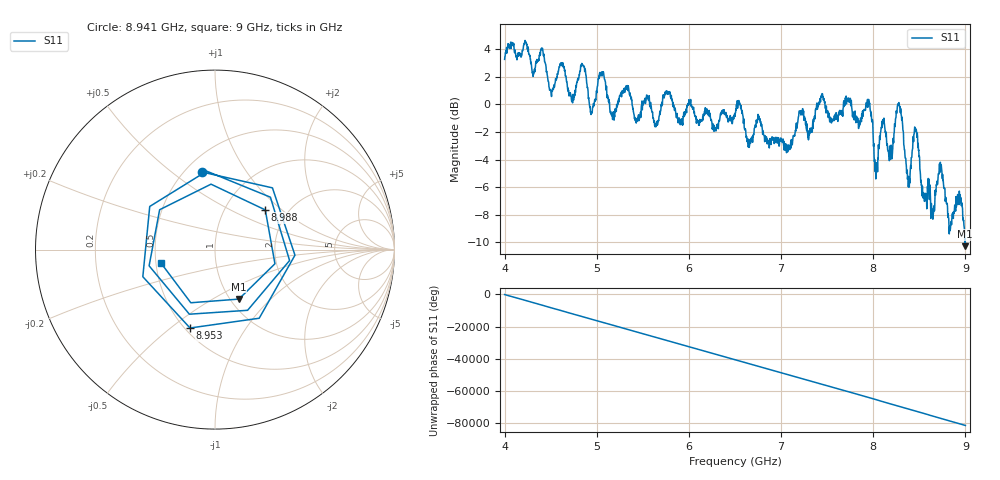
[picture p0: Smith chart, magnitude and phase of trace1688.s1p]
! Created with skrf 1.8.0 (http://scikit-rf.org).
# Hz S RI R 50.0
!freq ReS11 ImS11
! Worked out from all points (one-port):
!   1601 points, 4 GHz to 9 GHz, reference 50 ohm
!   lowest |S11| = -10.3 dB at 8.994 GHz (marker M1), VSWR 1.88, Z = 54.7 - j33.3 ohm
!   |S11| at or under -10 dB: 8.993152 GHz to 8.995595 GHz (2.443 MHz wide, 0.0272 % of centre); 8.998736 GHz to end of sweep
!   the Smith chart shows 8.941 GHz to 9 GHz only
!   S11 on the Smith chart (normalised r, x): 8.941 GHz: 0.60, +0.64; 8.953 GHz: 0.53, -0.59; 8.988 GHz: 1.54, +0.78; 9 GHz: 0.53, -0.09
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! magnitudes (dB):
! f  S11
! 4 GHz  3.3
! 4.406 GHz  4.0
! 4.506 GHz  0.8
! 4.625 GHz  3.0
! 4.734 GHz  0.2
! 4.853 GHz  2.8
! 4.944 GHz  -0.5
! 5.053 GHz  2.4
! 5.169 GHz  -0.8
! 5.25 GHz  0.6
! 5.875 GHz  -1.0
! 6.5 GHz  -0.9
! 7.125 GHz  -2.7
! 7.75 GHz  0.4
! 7.956 GHz  0.1
! 8.034 GHz  -4.3
! 8.281 GHz  0.0
! 8.375 GHz  -5.2
! 8.456 GHz  -1.8
! 8.559 GHz  -6.6
! 8.65 GHz  -7.8
! 8.728 GHz  -4.2
! 8.831 GHz  -8.8
! 8.941 GHz  -7.1
! 8.953 GHz  -6.8
! 8.988 GHz  -8.9
! 8.994 GHz  -10.3
! 9 GHz  -10.2
